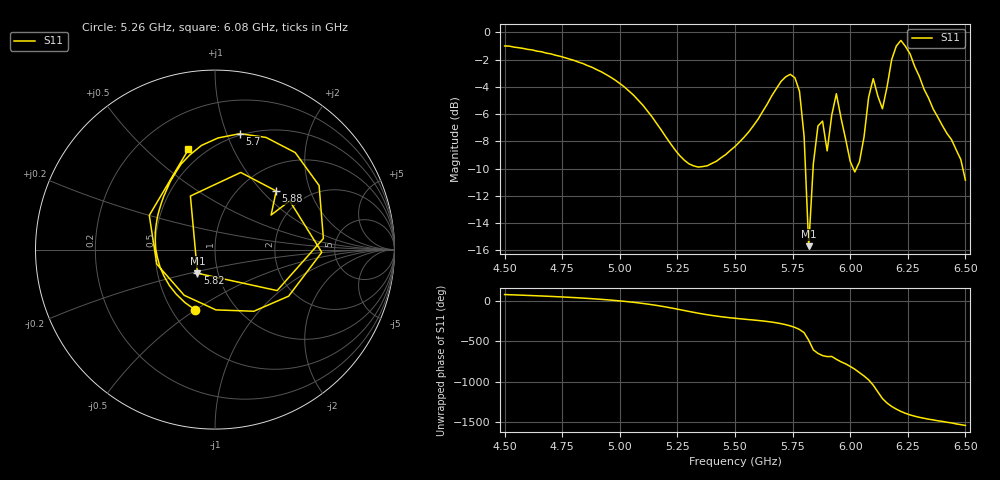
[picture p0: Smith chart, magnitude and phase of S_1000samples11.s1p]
! TOUCHSTONE file generated by CST MICROWAVE STUDIO
! Date and time: Wed Oct 26 16:42:56 2022
! Project name: L.cst
! Parameters = {Di=1.27; Epsilon_r=1.56; InnerDiameter=1.27; Length=2; Lf=10; Lg=60; OuterConductorThickness=0.2921; OuterDiameter=3.6; Wf=3; Wp=41.2; de=1.5; df=6.8; g=0.8; gx=4.42049; gy=2.03409; h=2.34; hf=1.524; px=14.0679; py=14.2978; w=9.7; wx=9.64738; wy=12.2637}
! Header version: 2018
! Port assignment regex: !\s*Touchstone port\s*([0-9]+)\s*=\s*(CST MWS port|CST DS port)\s*([0-9]+|Zmin|Zmax)\s*\(\"(.*)\"\)(\s*mode\s*([0-9]+))?.*
! Touchstone port assignment:
! Touchstone port 1 = CST MWS port 1 ("")
# GHz S DB R 50
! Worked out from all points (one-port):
!   101 points, 4.5 GHz to 6.5 GHz, reference 50 ohm
!   lowest |S11| = -15.7 dB at 5.82 GHz (marker M1), VSWR 1.39, Z = 39.8 - j10.8 ohm
!   |S11| at or under -10 dB: 5.806 GHz to 5.839 GHz (33.06 MHz wide, 0.568 % of centre); 6.013483 GHz to 6.026901 GHz (13.42 MHz wide, 0.223 % of centre); 6.48875 GHz to end of sweep
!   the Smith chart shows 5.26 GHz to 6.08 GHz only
!   S11 on the Smith chart (normalised r, x): 5.26 GHz: 0.65, -0.50; 5.7 GHz: 0.49, +1.11; 5.82 GHz: 0.80, -0.22; 5.88 GHz: 1.44, +1.21; 6.08 GHz: 0.41, +0.69
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4.5  -1.00 77.4
4.76  -1.85 46.2
5  -3.75 -1.0
5.14  -6.21 -48.3
5.26  -9.05 -108.4
5.5  -8.38 144.7
5.62  -5.82 111.7
5.7  -3.60 77.9
5.76  -3.34 31.6
5.8  -7.65 -33.4
5.82  -15.70 -126.5
5.84  -9.67 114.6
5.88  -6.52 43.7
5.92  -6.08 33.1
5.94  -4.51 -1.5
6  -9.47 -89.1
6.06  -7.68 152.5
6.08  -4.77 104.8
6.1  -3.40 38.5
6.12  -4.68 -44.1
6.14  -5.61 -126.4
6.16  -4.00 178.4
6.18  -2.00 136.5
6.2  -1.01 103.8
6.22  -0.59 75.0
6.26  -1.59 31.9
6.34  -4.82 -20.6
6.5  -10.85 -98.1
